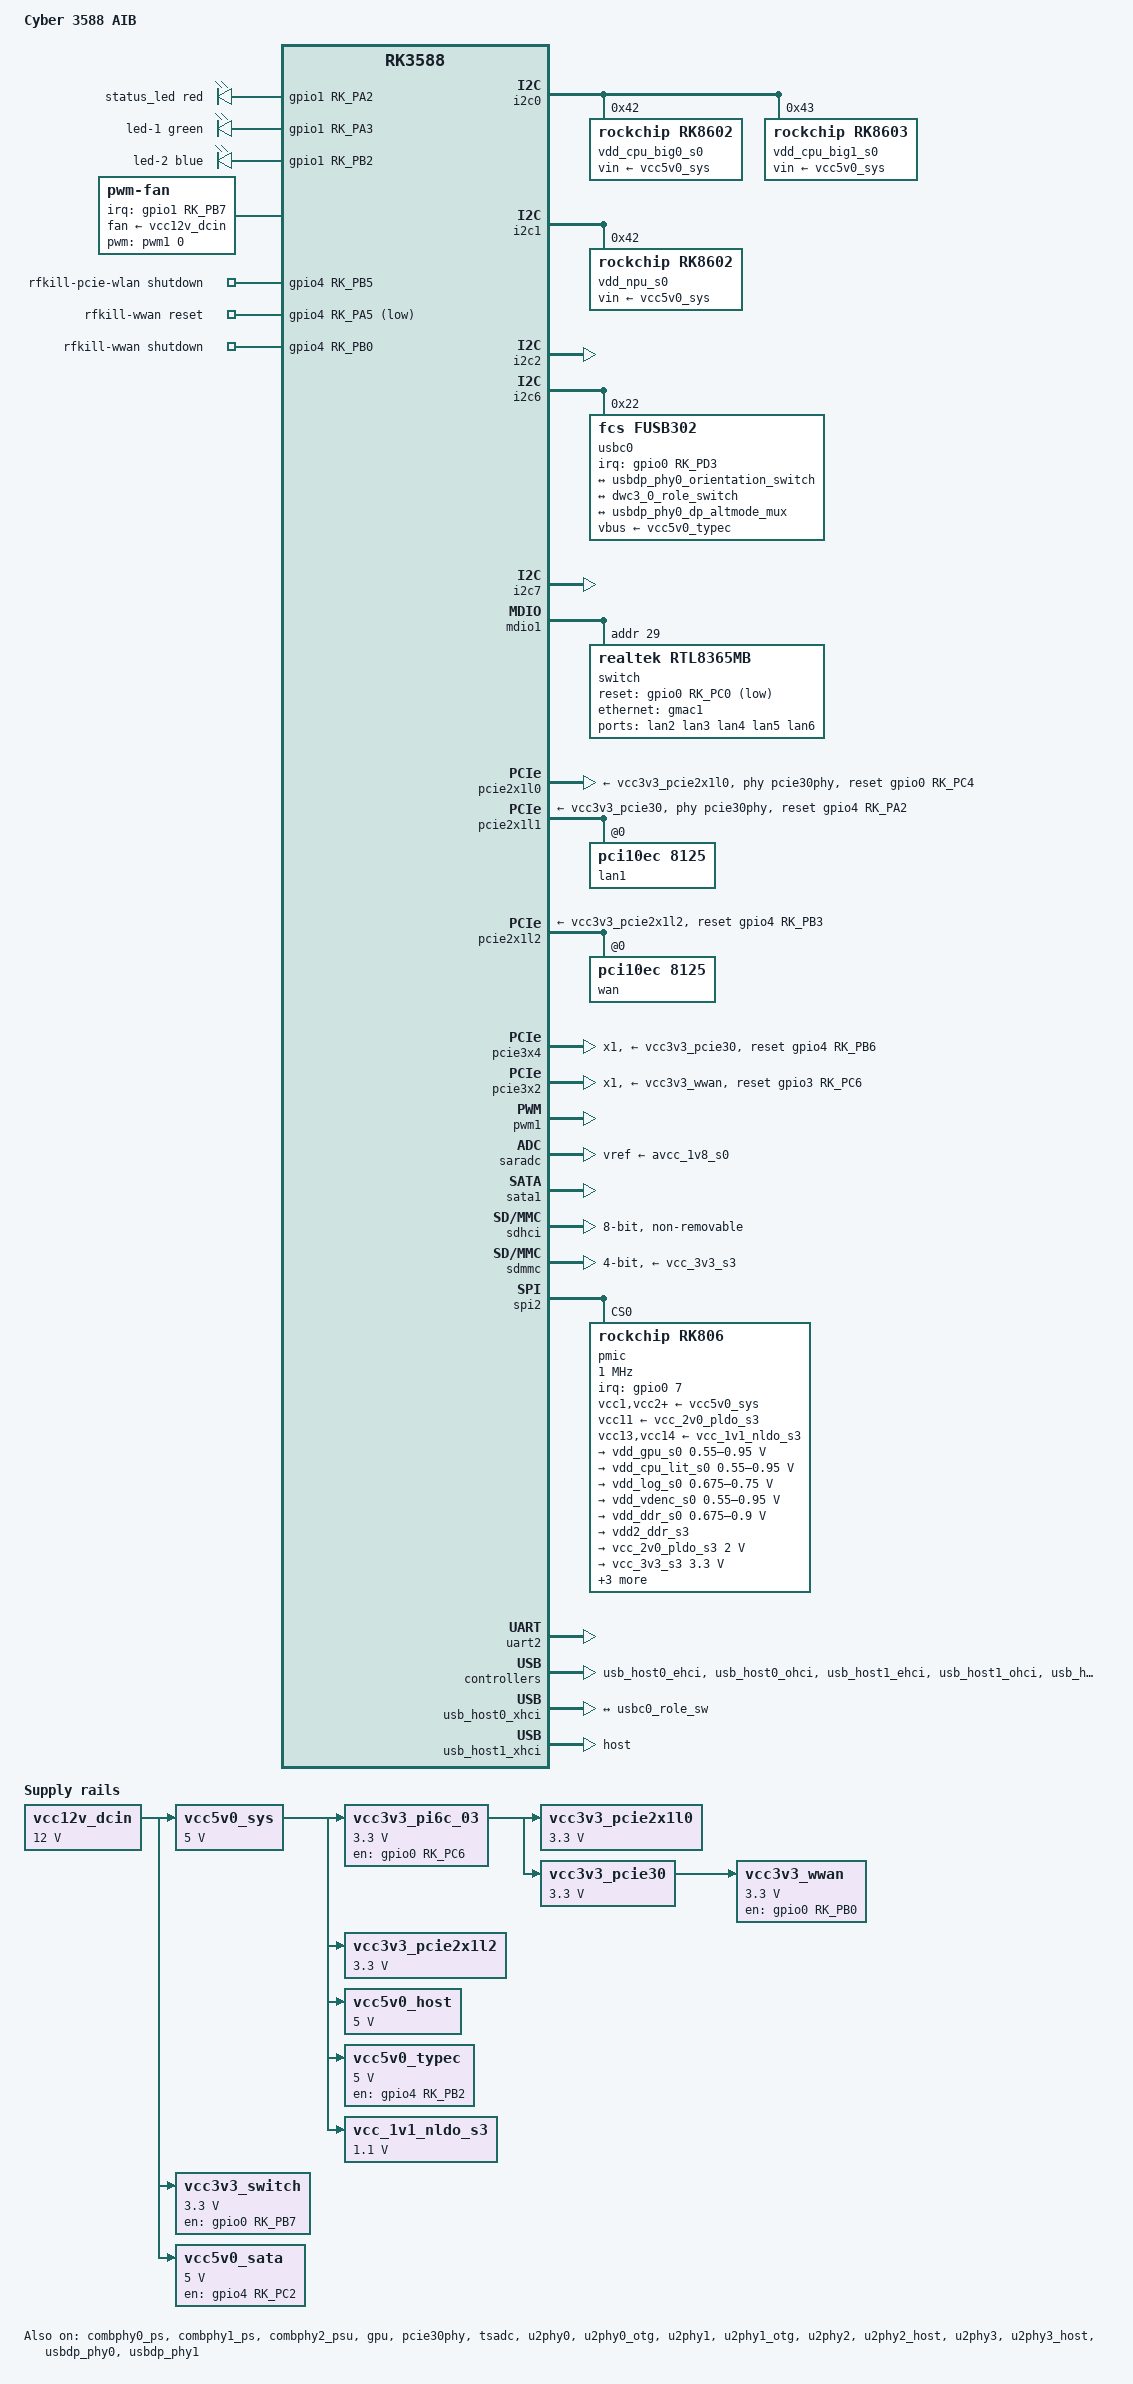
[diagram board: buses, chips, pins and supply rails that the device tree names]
// SPDX-License-Identifier: GPL-2.0-or-later OR MIT
/*
 * Copyright (c) 2022 Rockchip Electronics Co., Ltd.
 * Copyright (c) 2024 Cyber RD Group
 *
 * Copyright (c) 2024 Tianling Shen <cnsztl@gmail.com>
 */

/dts-v1/;
#include <dt-bindings/gpio/gpio.h>
#include <dt-bindings/input/input.h>
#include <dt-bindings/leds/common.h>
#include <dt-bindings/pinctrl/rockchip.h>
#include <dt-bindings/pwm/pwm.h>
#include <dt-bindings/usb/pd.h>
#include "rk3588.dtsi"

/ {
	model = "Cyber 3588 AIB";
	compatible = "cyber,cyber3588-aib", "rockchip,rk3588";

	aliases {
		mmc0 = &sdhci;
		mmc1 = &sdmmc;

		led-boot = &status_led;
		led-failsafe = &status_led;
		led-running = &status_led;
		led-upgrade = &status_led;
	};

	chosen {
		stdout-path = "serial2:1500000n8";
	};

	gpio-leds {
		compatible = "gpio-leds";
		pinctrl-names = "default";
		pinctrl-0 = <&red_led_pin>, <&green_led_pin>, <&blue_led_pin>;

		status_led: led-0 {
			color = <LED_COLOR_ID_RED>;
			function = LED_FUNCTION_STATUS;
			gpios = <&gpio1 RK_PA2 GPIO_ACTIVE_HIGH>;
		};

		led-1 {
			color = <LED_COLOR_ID_GREEN>;
			function = LED_FUNCTION_STATUS;
			gpios = <&gpio1 RK_PA3 GPIO_ACTIVE_HIGH>;
		};

		led-2 {
			color = <LED_COLOR_ID_BLUE>;
			function = LED_FUNCTION_STATUS;
			gpios = <&gpio1 RK_PB2 GPIO_ACTIVE_HIGH>;
		};
	};

	fan: pwm-fan {
		compatible = "pwm-fan";
		cooling-levels = <0 72 117 162 229 255>;
		fan-supply = <&vcc12v_dcin>;
		interrupt-parent = <&gpio1>;
		interrupts = <RK_PB7 IRQ_TYPE_EDGE_RISING>;
		pwms = <&pwm1 0 10000 PWM_POLARITY_INVERTED>;
		#cooling-cells = <2>;
	};

	rfkill-wlan {
		compatible = "rfkill-gpio";
		label = "rfkill-pcie-wlan";
		radio-type = "wlan";
		shutdown-gpios = <&gpio4 RK_PB5 GPIO_ACTIVE_HIGH>;
	};

	rfkill-wwan {
		compatible = "rfkill-gpio";
		label = "rfkill-wwan";
		radio-type = "wwan";
		pinctrl-names = "default";
		pinctrl-0 = <&wwan_disable_h>;
		reset-gpios = <&gpio4 RK_PA5 GPIO_ACTIVE_LOW>;
		shutdown-gpios = <&gpio4 RK_PB0 GPIO_ACTIVE_HIGH>;
	};

	vcc12v_dcin: vcc12v-dcin-regulator {
		compatible = "regulator-fixed";
		regulator-name = "vcc12v_dcin";
		regulator-always-on;
		regulator-boot-on;
		regulator-min-microvolt = <12000000>;
		regulator-max-microvolt = <12000000>;
	};

	vcc5v0_sys: vcc5v0-sys-regulator {
		compatible = "regulator-fixed";
		regulator-name = "vcc5v0_sys";
		regulator-always-on;
		regulator-boot-on;
		regulator-min-microvolt = <5000000>;
		regulator-max-microvolt = <5000000>;
		vin-supply = <&vcc12v_dcin>;
	};

	/* pi6c pcie clock generator */
	vcc3v3_pi6c_03: vcc3v3-pi6c-03-regulator {
		compatible = "regulator-fixed";
		enable-active-high;
		gpio = <&gpio0 RK_PC6 GPIO_ACTIVE_HIGH>;
		pinctrl-names = "default";
		pinctrl-0 = <&pcie_power_h>;
		regulator-name = "vcc3v3_pi6c_03";
		regulator-always-on;
		regulator-boot-on;
		regulator-min-microvolt = <3300000>;
		regulator-max-microvolt = <3300000>;
		vin-supply = <&vcc5v0_sys>;
        };

	/* actually fed by vcc5v0_sys, dependent on pi6c clock generator */
	vcc3v3_pcie2x1l0: vcc3v3-pcie2x1l0-regulator {
		compatible = "regulator-fixed";
		regulator-name = "vcc3v3_pcie2x1l0";
		regulator-min-microvolt = <3300000>;
		regulator-max-microvolt = <3300000>;
		regulator-boot-on;
		regulator-always-on;
		vin-supply = <&vcc3v3_pi6c_03>;
	};

	vcc3v3_pcie2x1l2: vcc3v3-pcie2x1l2-regulator {
		compatible = "regulator-fixed";
		regulator-name = "vcc3v3_pcie2x1l2";
		regulator-min-microvolt = <3300000>;
		regulator-max-microvolt = <3300000>;
		regulator-boot-on;
		regulator-always-on;
		vin-supply = <&vcc5v0_sys>;
	};

	/* actually fed by vcc5v0_sys, dependent on pi6c clock generator */
	vcc3v3_pcie30: vcc3v3-pcie30-regulator {
		compatible = "regulator-fixed";
		regulator-name = "vcc3v3_pcie30";
		regulator-min-microvolt = <3300000>;
		regulator-max-microvolt = <3300000>;
		regulator-boot-on;
		regulator-always-on;
		vin-supply = <&vcc3v3_pi6c_03>;
	};

	vcc3v3_switch: vcc3v3-switch-regulator {
		compatible = "regulator-fixed";
		enable-active-high;
		gpio = <&gpio0 RK_PB7 GPIO_ACTIVE_HIGH>;
		pinctrl-names = "default";
		pinctrl-0 = <&phy_pwr_en>;
		regulator-name = "vcc3v3_switch";
		regulator-min-microvolt = <3300000>;
		regulator-max-microvolt = <3300000>;
		regulator-boot-on;
		regulator-always-on;
		vin-supply = <&vcc12v_dcin>;
	};

	vcc3v3_wwan: vcc3v3-wwan-regulator {
		compatible = "regulator-fixed";
		enable-active-high;
		gpio = <&gpio0 RK_PB0 GPIO_ACTIVE_HIGH>;
		pinctrl-names = "default";
		pinctrl-0 = <&wwan_power_h>;
		regulator-name = "vcc3v3_wwan";
		regulator-min-microvolt = <3300000>;
		regulator-max-microvolt = <3300000>;
		regulator-boot-on;
		regulator-always-on;
		vin-supply = <&vcc3v3_pcie30>;
	};

	vcc5v0_host: vcc5v0-host-regulator {
		compatible = "regulator-fixed";
		regulator-name = "vcc5v0_host";
		regulator-boot-on;
		regulator-always-on;
		regulator-min-microvolt = <5000000>;
		regulator-max-microvolt = <5000000>;
		vin-supply = <&vcc5v0_sys>;
	};

	vcc5v0_sata: vcc5v0-sata-regulator {
		compatible = "regulator-fixed";
		enable-active-high;
		gpio = <&gpio4 RK_PC2 GPIO_ACTIVE_HIGH>;
		pinctrl-names = "default";
		pinctrl-0 = <&sata_pwr_en>;
		regulator-name = "vcc5v0_sata";
		regulator-boot-on;
		regulator-always-on;
		regulator-min-microvolt = <5000000>;
		regulator-max-microvolt = <5000000>;
		vin-supply = <&vcc12v_dcin>;
	};

	vcc5v0_typec: vcc5v0-typec-regulator {
		compatible = "regulator-fixed";
		enable-active-high;
		gpio = <&gpio4 RK_PB2 GPIO_ACTIVE_HIGH>;
		pinctrl-names = "default";
		pinctrl-0 = <&vcc5v0_otg_en>;
		regulator-name = "vcc5v0_typec";
		regulator-boot-on;
		regulator-always-on;
		regulator-min-microvolt = <5000000>;
		regulator-max-microvolt = <5000000>;
		vin-supply = <&vcc5v0_sys>;
	};

	vcc_1v1_nldo_s3: vcc-1v1-nldo-s3 {
		compatible = "regulator-fixed";
		regulator-name = "vcc_1v1_nldo_s3";
		regulator-always-on;
		regulator-boot-on;
		regulator-min-microvolt = <1100000>;
		regulator-max-microvolt = <1100000>;
		vin-supply = <&vcc5v0_sys>;
	};
};

&combphy0_ps {
	status = "okay";
};

&combphy1_ps {
	status = "okay";
};

&combphy2_psu {
	status = "okay";
};

&cpu_b0 {
	cpu-supply = <&vdd_cpu_big0_s0>;
};

&cpu_b1 {
	cpu-supply = <&vdd_cpu_big0_s0>;
};

&cpu_b2 {
	cpu-supply = <&vdd_cpu_big1_s0>;
};

&cpu_b3 {
	cpu-supply = <&vdd_cpu_big1_s0>;
};

&cpu_l0 {
	cpu-supply = <&vdd_cpu_lit_s0>;
};

&cpu_l1 {
	cpu-supply = <&vdd_cpu_lit_s0>;
};

&cpu_l2 {
	cpu-supply = <&vdd_cpu_lit_s0>;
};

&cpu_l3 {
	cpu-supply = <&vdd_cpu_lit_s0>;
};

&gmac1 {
	clock_in_out = "output";
	phy-mode = "rgmii-rxid";
	phy-supply = <&vcc3v3_switch>;
	pinctrl-names = "default";
	pinctrl-0 = <&gmac1_miim
		     &gmac1_tx_bus2
		     &gmac1_rx_bus2
		     &gmac1_rgmii_clk
		     &gmac1_rgmii_bus>;
	tx_delay = <0x42>;
	/* RK3588 GMAC is broken currently */
	status = "disabled";

	fixed-link {
		speed = <1000>;
		full-duplex;
	};
};

&gpu {
	mali-supply = <&vdd_gpu_s0>;
	status = "okay";
};

&i2c0 {
	pinctrl-names = "default";
	pinctrl-0 = <&i2c0m2_xfer>;
	status = "okay";

	vdd_cpu_big0_s0: regulator@42 {
		compatible = "rockchip,rk8602";
		reg = <0x42>;
		fcs,suspend-voltage-selector = <1>;
		regulator-name = "vdd_cpu_big0_s0";
		regulator-always-on;
		regulator-boot-on;
		regulator-min-microvolt = <550000>;
		regulator-max-microvolt = <1050000>;
		regulator-ramp-delay = <2300>;
		vin-supply = <&vcc5v0_sys>;

		regulator-state-mem {
			regulator-off-in-suspend;
		};
	};

	vdd_cpu_big1_s0: regulator@43 {
		compatible = "rockchip,rk8603", "rockchip,rk8602";
		reg = <0x43>;
		fcs,suspend-voltage-selector = <1>;
		regulator-name = "vdd_cpu_big1_s0";
		regulator-always-on;
		regulator-boot-on;
		regulator-min-microvolt = <550000>;
		regulator-max-microvolt = <1050000>;
		regulator-ramp-delay = <2300>;
		vin-supply = <&vcc5v0_sys>;

		regulator-state-mem {
			regulator-off-in-suspend;
		};
	};
};

&i2c1 {
	pinctrl-names = "default";
	pinctrl-0 = <&i2c1m2_xfer>;
	status = "okay";

	vdd_npu_s0: regulator@42 {
		compatible = "rockchip,rk8602";
		reg = <0x42>;
		fcs,suspend-voltage-selector = <1>;
		regulator-name = "vdd_npu_s0";
		regulator-always-on;
		regulator-boot-on;
		regulator-min-microvolt = <550000>;
		regulator-max-microvolt = <950000>;
		regulator-ramp-delay = <2300>;
		vin-supply = <&vcc5v0_sys>;

		regulator-state-mem {
			regulator-off-in-suspend;
		};
	};
};

&i2c2 {
	status = "okay";
};

&i2c6 {
	pinctrl-names = "default";
	pinctrl-0 = <&i2c6m0_xfer>;
	status = "okay";

	usbc0: usb-typec@22 {
		compatible = "fcs,fusb302";
		reg = <0x22>;
		interrupt-parent = <&gpio0>;
		interrupts = <RK_PD3 IRQ_TYPE_LEVEL_LOW>;
		pinctrl-names = "default";
		pinctrl-0 = <&usbc0_int>;
		vbus-supply = <&vcc5v0_typec>;
		status = "okay";

		usb_con: connector {
			compatible = "usb-c-connector";
			label = "USB-C";
			data-role = "dual";
			op-sink-microwatt = <1000000>;
			power-role = "dual";
			sink-pdos =
				<PDO_FIXED(5000, 1000, PDO_FIXED_USB_COMM)>;
			source-pdos =
				<PDO_FIXED(5000, 3000, PDO_FIXED_USB_COMM)>;
			try-power-role = "source";

			ports {
				#address-cells = <1>;
				#size-cells = <0>;

				port@0 {
					reg = <0>;
					usbc0_orien_sw: endpoint {
						remote-endpoint = <&usbdp_phy0_orientation_switch>;
					};
				};

				port@1 {
					reg = <1>;
					usbc0_role_sw: endpoint {
						remote-endpoint = <&dwc3_0_role_switch>;
					};
				};

				port@2 {
					reg = <2>;
					dp_altmode_mux: endpoint {
						remote-endpoint = <&usbdp_phy0_dp_altmode_mux>;
					};
				};
			};
		};
	};
};

&i2c7 {
	status = "okay";
};

&mdio1 {
	switch@1d {
		compatible = "realtek,rtl8365mb";
		reg = <29>;
		reset-gpios = <&gpio0 RK_PC0 GPIO_ACTIVE_LOW>;

		ports {
			#address-cells = <1>;
			#size-cells = <0>;

			port@0 {
				reg = <0>;
				label = "lan2";
			};

			port@1 {
				reg = <1>;
				label = "lan3";
			};

			port@2 {
				reg = <2>;
				label = "lan4";
			};

			port@3 {
				reg = <3>;
				label = "lan5";
			};

			port@4 {
				reg = <4>;
				label = "lan6";
			};

			port@7 {
				reg = <7>;
				ethernet = <&gmac1>;
				phy-mode = "rgmii";

				fixed-link {
					speed = <1000>;
					full-duplex;
				};
			};
		};
	};
};

&package_thermal {
	polling-delay = <1000>;
	polling-delay-passive = <2000>;

	trips {
		cpu_trip_active_cool: cpu-trip-active-cool {
			temperature = <45000>;
			hysteresis = <2000>;
			type = "passive";
		};

		cpu_trip_active_low: cpu-trip-active-low {
			temperature = <55000>;
			hysteresis = <2000>;
			type = "active";
		};

		cpu_trip_active_med: cpu-trip-active-med {
			temperature = <65000>;
			hysteresis = <2000>;
			type = "active";
		};

		cpu_trip_active_high: cpu-trip-active-high {
			temperature = <80000>;
			hysteresis = <2000>;
			type = "active";
		};

		cpu_trip_active_hot: cpu-trip-active-hot {
			temperature = <90000>;
			hysteresis = <2000>;
			type = "hot";
		};
	};

	cooling-maps {
		cpu-active-cool {
			cooling-device = <&fan THERMAL_NO_LIMIT 1>;
			trip = <&cpu_trip_active_cool>;
		};

		cpu-active-low {
			cooling-device = <&fan 1 2>;
			trip = <&cpu_trip_active_low>;
		};

		cpu-active-med {
			cooling-device = <&fan 2 3>;
			trip = <&cpu_trip_active_med>;
		};

		cpu-active-high {
			cooling-device = <&fan 3 4>;
			trip = <&cpu_trip_active_high>;
		};

		cpu-active-hot {
			cooling-device = <&fan 4 THERMAL_NO_LIMIT>;
			trip = <&cpu_trip_active_hot>;
		};
	};
};

/* M.2 M-Key */
&pcie2x1l0 {
	max-link-speed = <3>;
	phys = <&pcie30phy>;
	reset-gpios = <&gpio0 RK_PC4 GPIO_ACTIVE_HIGH>;
	vpcie3v3-supply = <&vcc3v3_pcie2x1l0>;
	status = "okay";
};

/* Right 2.5 GbE port */
&pcie2x1l1 {
	max-link-speed = <3>;
	phys = <&pcie30phy>;
	reset-gpios = <&gpio4 RK_PA2 GPIO_ACTIVE_HIGH>;
	vpcie3v3-supply = <&vcc3v3_pcie30>;
	status = "okay";

	pcie@0,0 {
		reg = <0x00300000 0 0 0 0>;
		#address-cells = <3>;
		#size-cells = <2>;

		rtl8125_0: pcie@30,0 {
			compatible = "pci10ec,8125";
			reg = <0x000000 0 0 0 0>;

			label = "lan1";
			realtek,led-data = <0x0 0x0 0x200 0x2b>;
		};
	};
};

/* Left 2.5 GbE port */
&pcie2x1l2 {
	reset-gpios = <&gpio4 RK_PB3 GPIO_ACTIVE_HIGH>;
	vpcie3v3-supply = <&vcc3v3_pcie2x1l2>;
	status = "okay";

	pcie@0,0 {
		reg = <0x00400000 0 0 0 0>;
		#address-cells = <3>;
		#size-cells = <2>;

		rtl8125_1: pcie@40,0 {
			compatible = "pci10ec,8125";
			reg = <0x000000 0 0 0 0>;

			label = "wan";
			realtek,led-data = <0x0 0x0 0x200 0x2b>;
		};
	};
};

&pcie30phy {
	data-lanes = <1 3 2 4>;
	status = "okay";
};

/* M.2 E-key */
&pcie3x4 {
	max-link-speed = <3>;
	num-lanes = <1>;
	reset-gpios = <&gpio4 RK_PB6 GPIO_ACTIVE_HIGH>;
	vpcie3v3-supply = <&vcc3v3_pcie30>;
	status = "okay";
};

/* M.2 B-key */
&pcie3x2 {
	max-link-speed = <3>;
	num-lanes = <1>;
	reset-gpios = <&gpio3 RK_PC6 GPIO_ACTIVE_HIGH>;
	vpcie3v3-supply = <&vcc3v3_wwan>;
	status = "okay";
};

&pinctrl {
	gpio-leds {
		red_led_pin: red-led-pin {
			rockchip,pins = <1 RK_PA2 RK_FUNC_GPIO &pcfg_pull_none>;
		};

		green_led_pin: green-led-pin {
			rockchip,pins = <1 RK_PA3 RK_FUNC_GPIO &pcfg_pull_none>;
		};

		blue_led_pin: blue-led-pin {
			rockchip,pins = <1 RK_PB2 RK_FUNC_GPIO &pcfg_pull_none>;
		};
	};

	gmac {
		phy_pwr_en: phy-pwr-en {
			rockchip,pins = <0 RK_PB7 RK_FUNC_GPIO &pcfg_pull_up>;
		};
	};

	pcie {
		pcie_power_h: pcie-power-h {
			rockchip,pins = <0 RK_PC6 RK_FUNC_GPIO &pcfg_pull_up>;
		};

		wwan_power_h: wwan-power-h {
			rockchip,pins = <0 RK_PB0 RK_FUNC_GPIO &pcfg_pull_up>;
		};

		wwan_disable_h: wwan-disable-h {
			rockchip,pins = <2 RK_PC5 RK_FUNC_GPIO &pcfg_pull_down>;
		};
	};

	sata {
		sata_pwr_en: sata-pwr-en {
			rockchip,pins = <4 RK_PC2 RK_FUNC_GPIO &pcfg_output_high>;
		};
	};

	usb {
		usbc0_int: usbc0-int {
			rockchip,pins = <0 RK_PD3 RK_FUNC_GPIO &pcfg_pull_up>;
		};

		vcc5v0_otg_en: vcc5v0-otg-en {
			rockchip,pins = <4 RK_PB2 RK_FUNC_GPIO &pcfg_pull_down>;
		};
	};
};

&pwm1 {
	pinctrl-names = "default";
	pinctrl-0 = <&pwm1m1_pins>;
	status = "okay";
};

&saradc {
	vref-supply = <&avcc_1v8_s0>;
	status = "okay";
};

&sata1 {
	ahci-supply = <&vcc5v0_sata>;
	status = "okay";
};

&sdhci {
	bus-width = <8>;
	cap-mmc-highspeed;
	mmc-hs400-1_8v;
	mmc-hs400-enhanced-strobe;
	no-sdio;
	no-sd;
	non-removable;
	status = "okay";
};

&sdmmc {
	bus-width = <4>;
	cap-mmc-highspeed;
	cap-sd-highspeed;
	disable-wp;
	no-sdio;
	no-mmc;
	sd-uhs-sdr50;
	vmmc-supply = <&vcc_3v3_s3>;
	vqmmc-supply = <&vccio_sd_s0>;
	status = "okay";
};

&spi2 {
	assigned-clocks = <&cru CLK_SPI2>;
	assigned-clock-rates = <200000000>;
	num-cs = <1>;
	pinctrl-names = "default";
	pinctrl-0 = <&spi2m2_cs0 &spi2m2_pins>;
	status = "okay";

	pmic@0 {
		compatible = "rockchip,rk806";
		spi-max-frequency = <1000000>;
		reg = <0x0>;

		interrupt-parent = <&gpio0>;
		interrupts = <7 IRQ_TYPE_LEVEL_LOW>;

		pinctrl-names = "default";
		pinctrl-0 = <&pmic_pins>, <&rk806_dvs1_null>,
			    <&rk806_dvs2_null>, <&rk806_dvs3_null>;

		system-power-controller;

		vcc1-supply = <&vcc5v0_sys>;
		vcc2-supply = <&vcc5v0_sys>;
		vcc3-supply = <&vcc5v0_sys>;
		vcc4-supply = <&vcc5v0_sys>;
		vcc5-supply = <&vcc5v0_sys>;
		vcc6-supply = <&vcc5v0_sys>;
		vcc7-supply = <&vcc5v0_sys>;
		vcc8-supply = <&vcc5v0_sys>;
		vcc9-supply = <&vcc5v0_sys>;
		vcc10-supply = <&vcc5v0_sys>;
		vcc11-supply = <&vcc_2v0_pldo_s3>;
		vcc12-supply = <&vcc5v0_sys>;
		vcc13-supply = <&vcc_1v1_nldo_s3>;
		vcc14-supply = <&vcc_1v1_nldo_s3>;
		vcca-supply = <&vcc5v0_sys>;

		gpio-controller;
		#gpio-cells = <2>;

		rk806_dvs1_null: dvs1-null-pins {
			pins = "gpio_pwrctrl1";
			function = "pin_fun0";
		};

		rk806_dvs2_null: dvs2-null-pins {
			pins = "gpio_pwrctrl2";
			function = "pin_fun0";
		};

		rk806_dvs3_null: dvs3-null-pins {
			pins = "gpio_pwrctrl3";
			function = "pin_fun0";
		};

		regulators {
			vdd_gpu_s0: dcdc-reg1 {
				regulator-always-on;
				regulator-boot-on;
				regulator-min-microvolt = <550000>;
				regulator-max-microvolt = <950000>;
				regulator-ramp-delay = <12500>;
				regulator-name = "vdd_gpu_s0";
				regulator-enable-ramp-delay = <400>;

				regulator-state-mem {
					regulator-off-in-suspend;
				};
			};

			vdd_cpu_lit_s0: dcdc-reg2 {
				regulator-always-on;
				regulator-boot-on;
				regulator-min-microvolt = <550000>;
				regulator-max-microvolt = <950000>;
				regulator-ramp-delay = <12500>;
				regulator-name = "vdd_cpu_lit_s0";

				regulator-state-mem {
					regulator-off-in-suspend;
				};
			};

			vdd_log_s0: dcdc-reg3 {
				regulator-always-on;
				regulator-boot-on;
				regulator-min-microvolt = <675000>;
				regulator-max-microvolt = <750000>;
				regulator-ramp-delay = <12500>;
				regulator-name = "vdd_log_s0";

				regulator-state-mem {
					regulator-off-in-suspend;
					regulator-suspend-microvolt = <750000>;
				};
			};

			vdd_vdenc_s0: dcdc-reg4 {
				regulator-always-on;
				regulator-boot-on;
				regulator-min-microvolt = <550000>;
				regulator-max-microvolt = <950000>;
				regulator-ramp-delay = <12500>;
				regulator-name = "vdd_vdenc_s0";

				regulator-state-mem {
					regulator-off-in-suspend;
				};
			};

			vdd_ddr_s0: dcdc-reg5 {
				regulator-always-on;
				regulator-boot-on;
				regulator-min-microvolt = <675000>;
				regulator-max-microvolt = <900000>;
				regulator-ramp-delay = <12500>;
				regulator-name = "vdd_ddr_s0";

				regulator-state-mem {
					regulator-off-in-suspend;
					regulator-suspend-microvolt = <850000>;
				};
			};

			vdd2_ddr_s3: dcdc-reg6 {
				regulator-always-on;
				regulator-boot-on;
				regulator-name = "vdd2_ddr_s3";

				regulator-state-mem {
					regulator-on-in-suspend;
				};
			};

			vcc_2v0_pldo_s3: dcdc-reg7 {
				regulator-always-on;
				regulator-boot-on;
				regulator-min-microvolt = <2000000>;
				regulator-max-microvolt = <2000000>;
				regulator-ramp-delay = <12500>;
				regulator-name = "vdd_2v0_pldo_s3";

				regulator-state-mem {
					regulator-on-in-suspend;
					regulator-suspend-microvolt = <2000000>;
				};
			};

			vcc_3v3_s3: dcdc-reg8 {
				regulator-always-on;
				regulator-boot-on;
				regulator-min-microvolt = <3300000>;
				regulator-max-microvolt = <3300000>;
				regulator-name = "vcc_3v3_s3";

				regulator-state-mem {
					regulator-on-in-suspend;
					regulator-suspend-microvolt = <3300000>;
				};
			};

			vddq_ddr_s0: dcdc-reg9 {
				regulator-always-on;
				regulator-boot-on;
				regulator-name = "vddq_ddr_s0";

				regulator-state-mem {
					regulator-off-in-suspend;
				};
			};

			vcc_1v8_s3: dcdc-reg10 {
				regulator-always-on;
				regulator-boot-on;
				regulator-min-microvolt = <1800000>;
				regulator-max-microvolt = <1800000>;
				regulator-name = "vcc_1v8_s3";

				regulator-state-mem {
					regulator-on-in-suspend;
					regulator-suspend-microvolt = <1800000>;
				};
			};

			avcc_1v8_s0: pldo-reg1 {
				regulator-always-on;
				regulator-boot-on;
				regulator-min-microvolt = <1800000>;
				regulator-max-microvolt = <1800000>;
				regulator-name = "avcc_1v8_s0";

				regulator-state-mem {
					regulator-off-in-suspend;
				};
			};

			vcc_1v8_s0: pldo-reg2 {
				regulator-always-on;
				regulator-boot-on;
				regulator-min-microvolt = <1800000>;
				regulator-max-microvolt = <1800000>;
				regulator-name = "vcc_1v8_s0";

				regulator-state-mem {
					regulator-off-in-suspend;
					regulator-suspend-microvolt = <1800000>;
				};
			};

			avdd_1v2_s0: pldo-reg3 {
				regulator-always-on;
				regulator-boot-on;
				regulator-min-microvolt = <1200000>;
				regulator-max-microvolt = <1200000>;
				regulator-name = "avdd_1v2_s0";

				regulator-state-mem {
					regulator-off-in-suspend;
				};
			};

			vcc_3v3_s0: pldo-reg4 {
				regulator-always-on;
				regulator-boot-on;
				regulator-min-microvolt = <3300000>;
				regulator-max-microvolt = <3300000>;
				regulator-ramp-delay = <12500>;
				regulator-name = "vcc_3v3_s0";

				regulator-state-mem {
					regulator-off-in-suspend;
				};
			};

			vccio_sd_s0: pldo-reg5 {
				regulator-always-on;
				regulator-boot-on;
				regulator-min-microvolt = <1800000>;
				regulator-max-microvolt = <3300000>;
				regulator-ramp-delay = <12500>;
				regulator-name = "vccio_sd_s0";

				regulator-state-mem {
					regulator-off-in-suspend;
				};
			};

			pldo6_s3: pldo-reg6 {
				regulator-always-on;
				regulator-boot-on;
				regulator-min-microvolt = <1800000>;
				regulator-max-microvolt = <1800000>;
				regulator-name = "pldo6_s3";

				regulator-state-mem {
					regulator-on-in-suspend;
					regulator-suspend-microvolt = <1800000>;
				};
			};

			vdd_0v75_s3: nldo-reg1 {
				regulator-always-on;
				regulator-boot-on;
				regulator-min-microvolt = <750000>;
				regulator-max-microvolt = <750000>;
				regulator-name = "vdd_0v75_s3";

				regulator-state-mem {
					regulator-on-in-suspend;
					regulator-suspend-microvolt = <750000>;
				};
			};

			vdd_ddr_pll_s0: nldo-reg2 {
				regulator-always-on;
				regulator-boot-on;
				regulator-min-microvolt = <850000>;
				regulator-max-microvolt = <850000>;
				regulator-name = "vdd_ddr_pll_s0";

				regulator-state-mem {
					regulator-off-in-suspend;
					regulator-suspend-microvolt = <850000>;
				};
			};

			avdd_0v75_s0: nldo-reg3 {
				regulator-always-on;
				regulator-boot-on;
				regulator-min-microvolt = <750000>;
				regulator-max-microvolt = <750000>;
				regulator-name = "avdd_0v75_s0";

				regulator-state-mem {
					regulator-off-in-suspend;
				};
			};

			vdd_0v85_s0: nldo-reg4 {
				regulator-always-on;
				regulator-boot-on;
				regulator-min-microvolt = <850000>;
				regulator-max-microvolt = <850000>;
				regulator-name = "vdd_0v85_s0";

				regulator-state-mem {
					regulator-off-in-suspend;
				};
			};

			vdd_0v75_s0: nldo-reg5 {
				regulator-always-on;
				regulator-boot-on;
				regulator-min-microvolt = <750000>;
				regulator-max-microvolt = <750000>;
				regulator-name = "vdd_0v75_s0";

				regulator-state-mem {
					regulator-off-in-suspend;
				};
			};
		};
	};
};

&tsadc {
	status = "okay";
};

&u2phy0 {
	status = "okay";
};

&u2phy0_otg {
	status = "okay";
};

&u2phy1 {
	status = "okay";
};

&u2phy1_otg {
	status = "okay";
};

&u2phy2 {
	status = "okay";
};

&u2phy2_host {
	status = "okay";
};

&u2phy3 {
	status = "okay";
};

&u2phy3_host {
	status = "okay";
};

&uart2 {
	pinctrl-0 = <&uart2m0_xfer>;
	status = "okay";
};

&usbdp_phy0 {
	mode-switch;
	orientation-switch;
	sbu1-dc-gpios = <&gpio4 RK_PA6 GPIO_ACTIVE_HIGH>;
	sbu2-dc-gpios = <&gpio4 RK_PA7 GPIO_ACTIVE_HIGH>;
	status = "okay";

	port {
		#address-cells = <1>;
		#size-cells = <0>;

		usbdp_phy0_orientation_switch: endpoint@0 {
			reg = <0>;
			remote-endpoint = <&usbc0_orien_sw>;
		};

		usbdp_phy0_dp_altmode_mux: endpoint@1 {
			reg = <1>;
			remote-endpoint = <&dp_altmode_mux>;
		};
	};
};

&usbdp_phy1 {
	status = "okay";
};

&usb_host0_ehci {
	status = "okay";
};

&usb_host0_ohci {
	status = "okay";
};

&usb_host0_xhci {
	usb-role-switch;
	status = "okay";

	port {
		#address-cells = <1>;
		#size-cells = <0>;

		dwc3_0_role_switch: endpoint@0 {
			reg = <0>;
			remote-endpoint = <&usbc0_role_sw>;
		};
	};
};

&usb_host1_ehci {
	status = "okay";
};

&usb_host1_ohci {
	status = "okay";
};

&usb_host1_xhci {
	dr_mode = "host";
	status = "okay";
};

&usb_host2_xhci {
	status = "okay";
};
